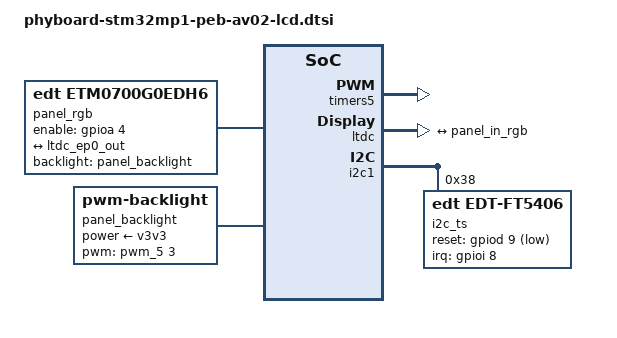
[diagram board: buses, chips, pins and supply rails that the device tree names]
// SPDX-License-Identifier: (GPL-2.0+ OR BSD-3-Clause)
/*
 * Copyright (C) PHYTEC GmbH 2019 - All Rights Reserved
 * Author: Dom VOVARD <dom.vovard@linrt.com>.
 */

/ {
        panel_rgb: panel {
                compatible = "edt,etm0700g0edh6";

                status = "okay";
                backlight = <&panel_backlight>;
		enable-gpios = <&gpioa 4 GPIO_ACTIVE_HIGH>;		

                port {
                        panel_in_rgb: endpoint {
                                remote-endpoint = <&ltdc_ep0_out>;
                        };
                };
        };

        panel_backlight: panel-backlight {
                compatible = "pwm-backlight";
		pwms = <&pwm_5 3 100000>;

		power-supply = <&v3v3>;		

		brightness-levels = <0 4 8 16 32 64 128 255>;
		default-brightness-level = <6>;
                status = "okay";
        };
};

&timers5 {
	status = "okay";
        /delete-property/dmas;
        /delete-property/dma-names;
        pwm_5: pwm {
		#pwm-cells = <2>;
                pinctrl-0 = <&pwm5_pins_a>;
                pinctrl-1 = <&pwm5_sleep_pins_a>;
                pinctrl-names = "default", "sleep";
                status = "okay";
        };

        timer@4 {
                status = "disabled";
        };
};

&ltdc {
	dma-ranges;
        status = "okay";
  
        pinctrl-names = "default", "sleep";
        pinctrl-0 = <&ltdc_pins_a>;
        pinctrl-1 = <&ltdc_pins_sleep_a>;

        port {
                #address-cells = <1>;
                #size-cells = <0>;

                ltdc_ep0_out: endpoint@0 {
                        reg = <0>;
                        remote-endpoint = <&panel_in_rgb>;
                };
        };
};

&i2c1 {
	i2c_ts: touchscreen@38 {
		compatible = "edt,edt-ft5406", "edt,edt-ft5x06";
		reg = <0x38>;
                interrupts = <8 2>;
                interrupt-parent = <&gpioi>;
                interrupt-controller;
		reset-gpios = <&gpiod 9 1>;
		status = "okay";
	};
};

&dsi {
	status = "disabled";
};
